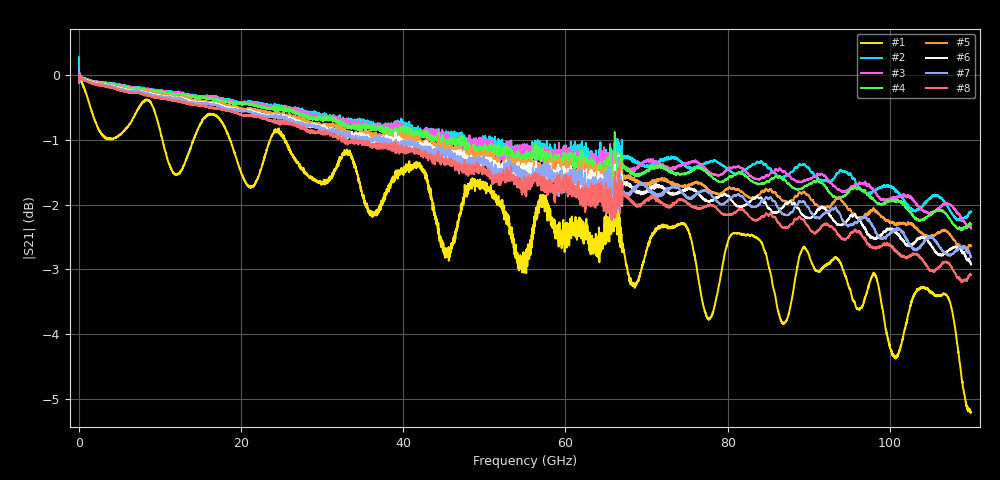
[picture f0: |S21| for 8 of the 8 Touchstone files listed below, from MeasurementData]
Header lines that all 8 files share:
#  HZ  S  RI  R  50.00
! Rohde & Schwarz ZVA67 4Ports - Version 4.11 - 1305.7002k04 SN: 101032
! Measurements: S11 S21 S12 S22
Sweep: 20 MHz to 110 GHz
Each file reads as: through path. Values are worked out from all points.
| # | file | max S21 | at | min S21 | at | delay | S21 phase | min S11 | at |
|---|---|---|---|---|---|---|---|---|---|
| 1 | Impedance.s2p | 0.02 dB | 20 MHz | -5.2 dB | 109.9 GHz | 151 ps | -74 deg at 55.02 GHz | -47.3 dB | 16.56 GHz |
| 2 | Line_0.s2p | 0.28 dB | 20 MHz | -2.2 dB | 108.7 GHz | 88.3 ps | 71 deg at 55.02 GHz | -58.4 dB | 28.04 GHz |
| 3 | Line_1.s2p | 0.01 dB | 20 MHz | -2.4 dB | 110 GHz | 91.5 ps | 9 deg at 55.02 GHz | -62.1 dB | 27.12 GHz |
| 4 | Line_2.s2p | 0.08 dB | 20 MHz | -2.4 dB | 108.8 GHz | 97.4 ps | -105 deg at 55.02 GHz | -62.7 dB | 40 MHz |
| 5 | Line_3.s2p | 0.09 dB | 20 MHz | -2.7 dB | 109.5 GHz | 111 ps | -8 deg at 55.02 GHz | -62.8 dB | 93.66 GHz |
| 6 | Line_4.s2p | 0.01 dB | 80 MHz | -2.9 dB | 110 GHz | 118 ps | -158 deg at 55.02 GHz | -59.8 dB | 25.02 GHz |
| 7 | Line_5.s2p | 0.12 dB | 20 MHz | -2.8 dB | 110 GHz | 122 ps | 124 deg at 55.02 GHz | -65.2 dB | 36.8 GHz |
| 8 | Line_6.s2p | 0.02 dB | 120 MHz | -3.2 dB | 108.8 GHz | 134 ps | -102 deg at 55.02 GHz | -61.3 dB | 59.92 GHz |
